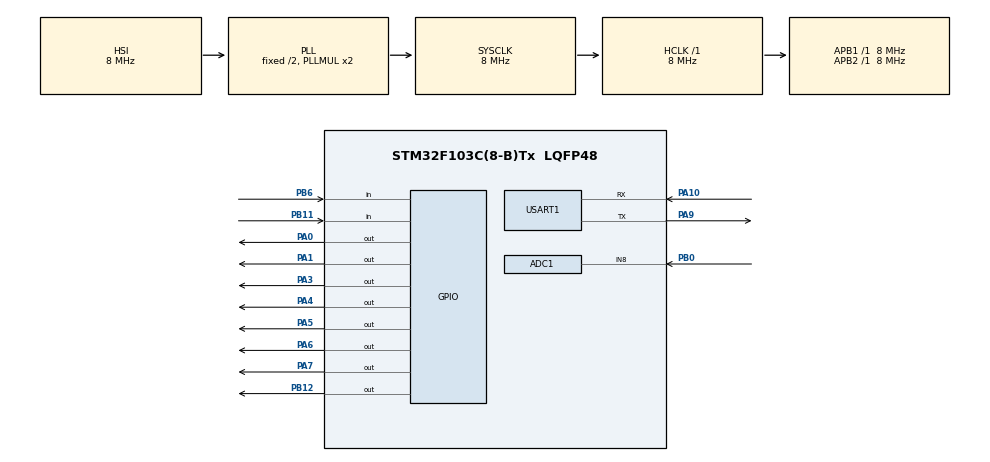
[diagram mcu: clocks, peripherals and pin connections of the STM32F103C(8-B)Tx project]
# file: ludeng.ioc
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ADC1.Channel-0\#ChannelRegularConversion=ADC_CHANNEL_8
ADC1.NbrOfConversionFlag=1
ADC1.Rank-0\#ChannelRegularConversion=1
ADC1.SamplingTime-0\#ChannelRegularConversion=ADC_SAMPLETIME_1CYCLE_5
ADC1.master=1
Mcu.Family=STM32F1
Mcu.Name=STM32F103C(8-B)Tx
Mcu.Package=LQFP48
NVIC.PriorityGroup=NVIC_PRIORITYGROUP_4
PA0-WKUP.Signal=GPIO_Output
PA1.Signal=GPIO_Output
PA10.Mode=Asynchronous
PA10.Signal=USART1_RX
PA13.Mode=Serial_Wire
PA13.Signal=SYS_JTMS-SWDIO
PA14.Mode=Serial_Wire
PA14.Signal=SYS_JTCK-SWCLK
PA3.Signal=GPIO_Output
PA4.Signal=GPIO_Output
PA5.Signal=GPIO_Output
PA6.PinState=GPIO_PIN_RESET
PA6.Signal=GPIO_Output
PA7.Signal=GPIO_Output
PA9.Mode=Asynchronous
PA9.Signal=USART1_TX
PB0.Signal=ADCx_IN8
PB11.Signal=GPIO_Input
PB12.PinState=GPIO_PIN_SET
PB12.Signal=GPIO_Output
PB6.Signal=GPIO_Input
ProjectManager.HeapSize=0x200
ProjectManager.StackSize=0x400
ProjectManager.TargetToolchain=EWARM V7
RCC.AHBFreq_Value=8000000
RCC.APB1Freq_Value=8000000
RCC.APB1TimFreq_Value=8000000
RCC.APB2Freq_Value=8000000
RCC.APB2TimFreq_Value=8000000
RCC.HCLKFreq_Value=8000000
RCC.SYSCLKFreq_VALUE=8000000
RCC.SYSCLKSource=RCC_SYSCLKSOURCE_PLLCLK
RCC.USBFreq_Value=8000000
SH.ADCx_IN8.0=ADC1_IN8,IN8
USART1.VirtualMode=VM_ASYNC
board=custom

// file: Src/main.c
/**
  ******************************************************************************
  * @file           : main.c
  * @brief          : Main program body
  ******************************************************************************
  ** This notice applies to any and all portions of this file
  * that are not between comment pairs USER CODE BEGIN and
  * USER CODE END. Other portions of this file, whether
  * inserted by the user or by software development tools
  * are owned by their respective copyright owners.
  *
  * COPYRIGHT(c) 2018 STMicroelectronics
  *
  * Redistribution and use in source and binary forms, with or without modification,
  * are permitted provided that the following conditions are met:
  *   1. Redistributions of source code must retain the above copyright notice,
  *      this list of conditions and the following disclaimer.
  *   2. Redistributions in binary form must reproduce the above copyright notice,
  *      this list of conditions and the following disclaimer in the documentation
  *      and/or other materials provided with the distribution.
  *   3. Neither the name of STMicroelectronics nor the names of its contributors
  *      may be used to endorse or promote products derived from this software
  *      without specific prior written permission.
  *
  * THIS SOFTWARE IS PROVIDED BY THE COPYRIGHT HOLDERS AND CONTRIBUTORS "AS IS"
  * AND ANY EXPRESS OR IMPLIED WARRANTIES, INCLUDING, BUT NOT LIMITED TO, THE
  * IMPLIED WARRANTIES OF MERCHANTABILITY AND FITNESS FOR A PARTICULAR PURPOSE ARE
  * DISCLAIMED. IN NO EVENT SHALL THE COPYRIGHT HOLDER OR CONTRIBUTORS BE LIABLE
  * FOR ANY DIRECT, INDIRECT, INCIDENTAL, SPECIAL, EXEMPLARY, OR CONSEQUENTIAL
  * DAMAGES (INCLUDING, BUT NOT LIMITED TO, PROCUREMENT OF SUBSTITUTE GOODS OR
  * SERVICES; LOSS OF USE, DATA, OR PROFITS; OR BUSINESS INTERRUPTION) HOWEVER
  * CAUSED AND ON ANY THEORY OF LIABILITY, WHETHER IN CONTRACT, STRICT LIABILITY,
  * OR TORT (INCLUDING NEGLIGENCE OR OTHERWISE) ARISING IN ANY WAY OUT OF THE USE
  * OF THIS SOFTWARE, EVEN IF ADVISED OF THE POSSIBILITY OF SUCH DAMAGE.
  *
  ******************************************************************************
  */
#include "main.h"
#include "stm32f1xx_hal.h"
#include "adc.h"
#include "usart.h"
#include "gpio.h"

/* USER CODE BEGIN Includes */
#include "lcd1602.h"
#define u8 uint8_t
#define u16 uint16_t
#define u32 uint32_t
/* USER CODE END Includes */

/* USER CODE BEGIN PV */
/* Private variables ---------------------------------------------------------*/

/* USER CODE END PV */

void SystemClock_Config(void);

/* USER CODE BEGIN PFP */
/* Private function prototypes -----------------------------------------------*/

/* USER CODE END PFP */

/* USER CODE BEGIN 0 */

u16 Get_Adc()//获取AD转换的值
{
	HAL_ADC_Start(&hadc1);
	HAL_ADC_PollForConversion(&hadc1,10);
	return HAL_ADC_GetValue(&hadc1);
}
u16 Get_Adc_Average(u8 times)//根据输入的参数，连续采样多次取平均值
{
	u32 temp_val=0;
	u8 t;
	for(t=0;t<times;t++)
	{
		temp_val+=Get_Adc();
	}
	return temp_val/times;
}
/* USER CODE END 0 */

int main(void)
{

  /* MCU Configuration----------------------------------------------------------*/

  /* Reset of all peripherals, Initializes the Flash interface and the Systick. */
  HAL_Init();

  /* Configure the system clock */
  SystemClock_Config();

  /* Initialize all configured peripherals */
  MX_GPIO_Init();//IO口初始化
  MX_ADC1_Init();//ADC初始化
  MX_USART1_UART_Init();//UART_1用作debug口
  /* USER CODE BEGIN 2 */
  float adcx;//储存AD转换的结果
  int recharging_flag=0;//充电状态标记
  int electricity_flag=0;//电量显示状态标记
  HAL_ADCEx_Calibration_Start(&hadc1);//ADC校准，不校准数值会有偏差
  LCD_init();
 // LCD_write_string(1,1,"Welcome to use!");
  /* USER CODE END 2 */

  /* Infinite loop */
  /* USER CODE BEGIN WHILE */
  while (1)
  {

    adcx=(2*(Get_Adc_Average(10)*3.3/4096));//带载后大约有0.2V的压差
    if(recharging_flag == 0)//检测到不处于充电状态，显示电量
    {
      if(electricity_flag == 0)
      {
        electricity_flag = 1;
        LCD_write_cmd(0x01);         //清屏
        if(adcx>4.20)
        {
          LCD_write_string(3,1,"Dump Energy");
          LCD_write_string(5,2,"100%");
        }
        else if(adcx<=4.20 && adcx >4.06)     //根据电量剩余状况，显示电量
        {
          LCD_write_string(3,1,"Dump Energy");
          LCD_write_string(5,2," 95%");
        }
        else if(adcx<=4.06 && adcx >3.98)
        {
          LCD_write_string(3,1,"Dump Energy");
          LCD_write_string(5,2," 86%");
        }
        else if(adcx<=3.98 && adcx >3.92)
        {
          LCD_write_string(3,1,"Dump Energy");
          LCD_write_string(5,2," 78%");
        }
         else if(adcx<=3.92 && adcx >3.87)
        {
          LCD_write_string(3,1,"Dump Energy");
          LCD_write_string(5,2," 69%");
        }
         else if(adcx<=3.87 && adcx >3.82)
        {
          LCD_write_string(3,1,"Dump Energy");
          LCD_write_string(5,2," 64%");
        }
        else if(adcx<=3.82 && adcx >3.79)
        {
          LCD_write_string(3,1,"Dump Energy");
          LCD_write_string(5,2," 50%");
        }
        else if(adcx<=3.79 && adcx >3.77)
        {
          LCD_write_string(3,1,"Dump Energy");
          LCD_write_string(5,2," 43%");
        }
        else if(adcx<=3.77 && adcx >3.74)
        {
          LCD_write_string(3,1,"Dump Energy");
          LCD_write_string(5,2," 33%");
        }
        else if(adcx<=3.74 && adcx >3.68)
        {
          LCD_write_string(3,1,"Dump Energy");
          LCD_write_string(5,2," 21%");
        }
        else if(adcx<=3.68 && adcx >3.45)
        {
          LCD_write_string(3,1,"Dump Energy");
          LCD_write_string(5,2," 12%");
        }
        else if(adcx<=3.45 )
        {
          LCD_write_string(3,1,"Dump Energy");
          LCD_write_string(5,2,"  5%");
        }
      }

    }
    /****************PB11为声音检测引脚，低电平状态表示有声音*******************/
    if(HAL_GPIO_ReadPin( GPIOB,GPIO_PIN_11) == 0&&recharging_flag == 0 )//如果检测到有声音，并且不处于充电状态
    {
      HAL_GPIO_WritePin(GPIOB, GPIO_PIN_12,GPIO_PIN_RESET);
      HAL_Delay(5000);
      HAL_GPIO_WritePin(GPIOB, GPIO_PIN_12,GPIO_PIN_SET);

    }
    /****************PB6为充电电压输入，高电平状态表示有正在充电*******************/
    if(HAL_GPIO_ReadPin( GPIOB,GPIO_PIN_6) == 1)//检测到充电状态，显示充电中
    {
      if(recharging_flag == 0)
      {
        electricity_flag = 0;
        recharging_flag = 1;
        LCD_write_cmd(0x01);         //清屏
        LCD_write_string(1,1,"  Recharging...");
      }

    }
    else recharging_flag = 0;

  /* USER CODE END WHILE */

  }

}

void SystemClock_Config(void)
{

  RCC_OscInitTypeDef RCC_OscInitStruct;
  RCC_ClkInitTypeDef RCC_ClkInitStruct;
  RCC_PeriphCLKInitTypeDef PeriphClkInit;

    /**Initializes the CPU, AHB and APB busses clocks
    */
  RCC_OscInitStruct.OscillatorType = RCC_OSCILLATORTYPE_HSI;
  RCC_OscInitStruct.HSIState = RCC_HSI_ON;
  RCC_OscInitStruct.HSICalibrationValue = 16;
  RCC_OscInitStruct.PLL.PLLState = RCC_PLL_ON;
  RCC_OscInitStruct.PLL.PLLSource = RCC_PLLSOURCE_HSI_DIV2;
  RCC_OscInitStruct.PLL.PLLMUL = RCC_PLL_MUL2;
  if (HAL_RCC_OscConfig(&RCC_OscInitStruct) != HAL_OK)
  {
    _Error_Handler(__FILE__, __LINE__);
  }

    /**Initializes the CPU, AHB and APB busses clocks
    */
  RCC_ClkInitStruct.ClockType = RCC_CLOCKTYPE_HCLK|RCC_CLOCKTYPE_SYSCLK
                              |RCC_CLOCKTYPE_PCLK1|RCC_CLOCKTYPE_PCLK2;
  RCC_ClkInitStruct.SYSCLKSource = RCC_SYSCLKSOURCE_PLLCLK;
  RCC_ClkInitStruct.AHBCLKDivider = RCC_SYSCLK_DIV1;
  RCC_ClkInitStruct.APB1CLKDivider = RCC_HCLK_DIV1;
  RCC_ClkInitStruct.APB2CLKDivider = RCC_HCLK_DIV1;

  if (HAL_RCC_ClockConfig(&RCC_ClkInitStruct, FLASH_LATENCY_0) != HAL_OK)
  {
    _Error_Handler(__FILE__, __LINE__);
  }

  PeriphClkInit.PeriphClockSelection = RCC_PERIPHCLK_ADC;
  PeriphClkInit.AdcClockSelection = RCC_ADCPCLK2_DIV2;
  if (HAL_RCCEx_PeriphCLKConfig(&PeriphClkInit) != HAL_OK)
  {
    _Error_Handler(__FILE__, __LINE__);
  }

    /**Configure the Systick interrupt time
    */
  HAL_SYSTICK_Config(HAL_RCC_GetHCLKFreq()/1000);

    /**Configure the Systick
    */
  HAL_SYSTICK_CLKSourceConfig(SYSTICK_CLKSOURCE_HCLK);

  /* SysTick_IRQn interrupt configuration */
  HAL_NVIC_SetPriority(SysTick_IRQn, 0, 0);
}

void _Error_Handler(char *file, int line)
{
  while(1)
  {
  }
}

/************************ (C) COPYRIGHT STMicroelectronics *****END OF FILE****/
